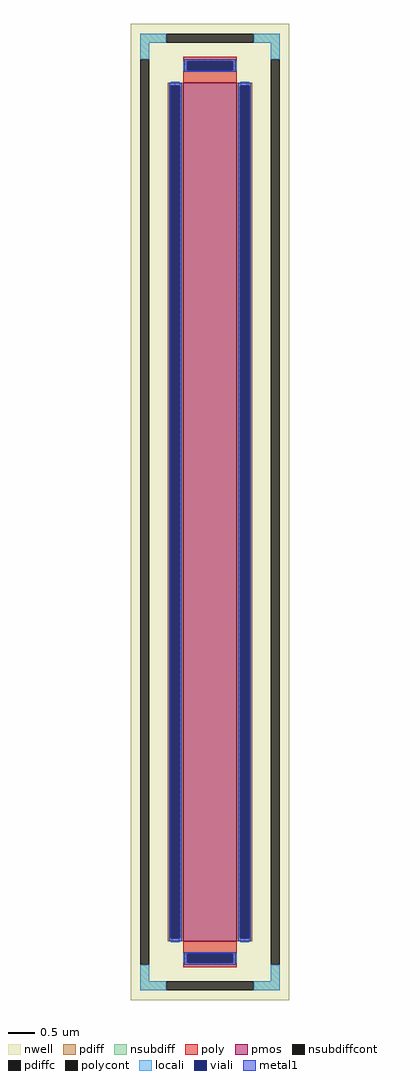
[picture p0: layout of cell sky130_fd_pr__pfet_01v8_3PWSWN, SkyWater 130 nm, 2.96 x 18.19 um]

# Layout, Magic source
magic
tech sky130A
magscale 1 2
<< nwell >>
rect -296 -1819 296 1819
<< pmos >>
rect -100 -1600 100 1600
<< pdiff >>
rect -158 1588 -100 1600
rect -158 -1588 -146 1588
rect -112 -1588 -100 1588
rect -158 -1600 -100 -1588
rect 100 1588 158 1600
rect 100 -1588 112 1588
rect 146 -1588 158 1588
rect 100 -1600 158 -1588
<< pdiffc >>
rect -146 -1588 -112 1588
rect 112 -1588 146 1588
<< nsubdiff >>
rect -260 1749 -164 1783
rect 164 1749 260 1783
rect -260 1687 -226 1749
rect 226 1687 260 1749
rect -260 -1749 -226 -1687
rect 226 -1749 260 -1687
rect -260 -1783 -164 -1749
rect 164 -1783 260 -1749
<< nsubdiffcont >>
rect -164 1749 164 1783
rect -260 -1687 -226 1687
rect 226 -1687 260 1687
rect -164 -1783 164 -1749
<< poly >>
rect -100 1681 100 1697
rect -100 1647 -84 1681
rect 84 1647 100 1681
rect -100 1600 100 1647
rect -100 -1647 100 -1600
rect -100 -1681 -84 -1647
rect 84 -1681 100 -1647
rect -100 -1697 100 -1681
<< polycont >>
rect -84 1647 84 1681
rect -84 -1681 84 -1647
<< locali >>
rect -260 1749 -164 1783
rect 164 1749 260 1783
rect -260 1687 -226 1749
rect 226 1687 260 1749
rect -100 1647 -84 1681
rect 84 1647 100 1681
rect -146 1588 -112 1604
rect -146 -1604 -112 -1588
rect 112 1588 146 1604
rect 112 -1604 146 -1588
rect -100 -1681 -84 -1647
rect 84 -1681 100 -1647
rect -260 -1749 -226 -1687
rect 226 -1749 260 -1687
rect -260 -1783 -164 -1749
rect 164 -1783 260 -1749
<< viali >>
rect -84 1647 84 1681
rect -146 -1588 -112 1588
rect 112 -1588 146 1588
rect -84 -1681 84 -1647
<< metal1 >>
rect -96 1681 96 1687
rect -96 1647 -84 1681
rect 84 1647 96 1681
rect -96 1641 96 1647
rect -152 1588 -106 1600
rect -152 -1588 -146 1588
rect -112 -1588 -106 1588
rect -152 -1600 -106 -1588
rect 106 1588 152 1600
rect 106 -1588 112 1588
rect 146 -1588 152 1588
rect 106 -1600 152 -1588
rect -96 -1647 96 -1641
rect -96 -1681 -84 -1647
rect 84 -1681 96 -1647
rect -96 -1687 96 -1681
<< properties >>
string FIXED_BBOX -243 -1766 243 1766
string gencell sky130_fd_pr__pfet_01v8
string library sky130
string parameters w 16 l 1 m 1 nf 1 diffcov 100 polycov 100 guard 1 glc 1 grc 1 gtc 1 gbc 1 tbcov 100 rlcov 100 topc 1 botc 1 poverlap 0 doverlap 1 lmin 0.15 wmin 0.42 compatible {sky130_fd_pr__pfet_01v8  sky130_fd_pr__pfet_01v8_lvt sky130_fd_pr__pfet_01v8_hvt  sky130_fd_pr__pfet_g5v0d10v5} full_metal 1 viasrc 100 viadrn 100 viagate 100 viagb 0 viagr 0 viagl 0 viagt 0
<< end >>
